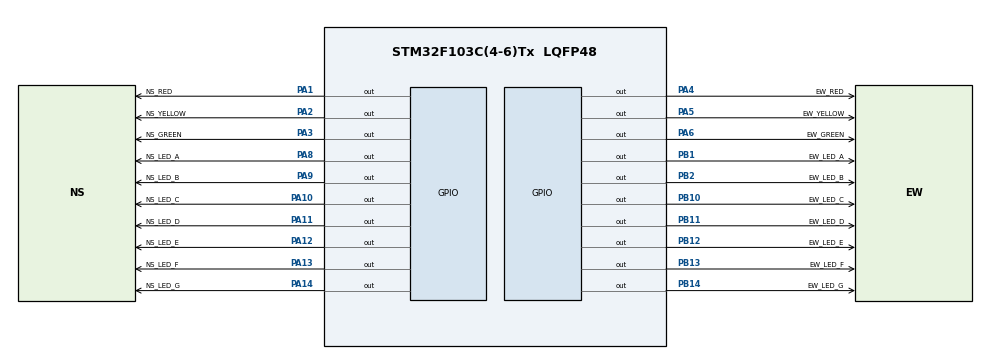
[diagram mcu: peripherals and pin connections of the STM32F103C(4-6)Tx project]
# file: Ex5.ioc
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Mcu.Family=STM32F1
Mcu.Name=STM32F103C(4-6)Tx
Mcu.Package=LQFP48
NVIC.PriorityGroup=NVIC_PRIORITYGROUP_4
PA1.GPIO_Label=NS_RED
PA1.Signal=GPIO_Output
PA10.GPIO_Label=NS_LED_C
PA10.Signal=GPIO_Output
PA11.GPIO_Label=NS_LED_D
PA11.Signal=GPIO_Output
PA12.GPIO_Label=NS_LED_E
PA12.Signal=GPIO_Output
PA13.GPIO_Label=NS_LED_F
PA13.Signal=GPIO_Output
PA14.GPIO_Label=NS_LED_G
PA14.Signal=GPIO_Output
PA2.GPIO_Label=NS_YELLOW
PA2.Signal=GPIO_Output
PA3.GPIO_Label=NS_GREEN
PA3.Signal=GPIO_Output
PA4.GPIO_Label=EW_RED
PA4.Signal=GPIO_Output
PA5.GPIO_Label=EW_YELLOW
PA5.Signal=GPIO_Output
PA6.GPIO_Label=EW_GREEN
PA6.Signal=GPIO_Output
PA8.GPIO_Label=NS_LED_A
PA8.Signal=GPIO_Output
PA9.GPIO_Label=NS_LED_B
PA9.Signal=GPIO_Output
PB1.GPIO_Label=EW_LED_A
PB1.Signal=GPIO_Output
PB10.GPIO_Label=EW_LED_C
PB10.Signal=GPIO_Output
PB11.GPIO_Label=EW_LED_D
PB11.Signal=GPIO_Output
PB12.GPIO_Label=EW_LED_E
PB12.Signal=GPIO_Output
PB13.GPIO_Label=EW_LED_F
PB13.Signal=GPIO_Output
PB14.GPIO_Label=EW_LED_G
PB14.Signal=GPIO_Output
PB2.GPIO_Label=EW_LED_B
PB2.Signal=GPIO_Output
ProjectManager.HeapSize=0x200
ProjectManager.StackSize=0x400
ProjectManager.TargetToolchain=STM32CubeIDE
RCC.APB1Freq_Value=8000000
RCC.APB2Freq_Value=8000000
VP_SYS_VS_ND.Mode=No_Debug
board=custom

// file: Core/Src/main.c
/* USER CODE BEGIN Header */
/**
  ******************************************************************************
  * @file           : main.c
  * @brief          : Main program body
  ******************************************************************************
  * @attention
  *
  * <h2><center>&copy; Copyright (c) 2025 STMicroelectronics.
  * All rights reserved.</center></h2>
  *
  * This software component is licensed by ST under BSD 3-Clause license,
  * the "License"; You may not use this file except in compliance with the
  * License. You may obtain a copy of the License at:
  *                        opensource.org/licenses/BSD-3-Clause
  *
  ******************************************************************************
  */
/* USER CODE END Header */
#include "main.h"

void SystemClock_Config(void);
static void MX_GPIO_Init(void);
/* USER CODE BEGIN PFP */
  uint16_t led_state[10] = {
  		  0b1000000, // 0 = a b c d e f
  		  0b1111001, // 1 = b c
  		  0b0100100, // 2 = a b d e g
  		  0b0110000, // 3 = a b c d g
  		  0b0011001, // 4 = b c f g
  		  0b0010010, // 5 = a c d f g
  		  0b0000010, // 6 = a c d e f g
  		  0b1111000, // 7 = a b c
  		  0b0000000, // 8 = a b c d e f g
  		  0b0010000  // 9 = a b c d f g
  };
/* USER CODE END PFP */
/* USER CODE BEGIN 0 */
void Control_NS(GPIO_PinState  RED_STATE, GPIO_PinState  YELLOW_STATE, GPIO_PinState  GREEN_STATE)
{
	 HAL_GPIO_WritePin(GPIOA, NS_RED_Pin, RED_STATE);
	 HAL_GPIO_WritePin(GPIOA, NS_YELLOW_Pin, YELLOW_STATE);
	 HAL_GPIO_WritePin(GPIOA, NS_GREEN_Pin, GREEN_STATE);
}
void Control_EW(GPIO_PinState  RED_STATE, GPIO_PinState  YELLOW_STATE, GPIO_PinState  GREEN_STATE)
{
	 HAL_GPIO_WritePin(GPIOA, EW_RED_Pin, RED_STATE);
	 HAL_GPIO_WritePin(GPIOA, EW_YELLOW_Pin, YELLOW_STATE);
	 HAL_GPIO_WritePin(GPIOA, EW_GREEN_Pin, GREEN_STATE);
}
void Display_LED_NS( int num)
{
	HAL_GPIO_WritePin(GPIOA, NS_LED_A_Pin, (led_state[num] & 0x01) ? SET:RESET);
	HAL_GPIO_WritePin(GPIOA, NS_LED_B_Pin, (led_state[num] & 0x02) ? SET:RESET);
	HAL_GPIO_WritePin(GPIOA, NS_LED_C_Pin, (led_state[num] & 0x04) ? SET:RESET);
	HAL_GPIO_WritePin(GPIOA, NS_LED_D_Pin, (led_state[num] & 0x08) ? SET:RESET);
	HAL_GPIO_WritePin(GPIOA, NS_LED_E_Pin, (led_state[num] & 0x10) ? SET:RESET);
	HAL_GPIO_WritePin(GPIOA, NS_LED_F_Pin, (led_state[num] & 0x20) ? SET:RESET);
	HAL_GPIO_WritePin(GPIOA, NS_LED_G_Pin, (led_state[num] & 0x40) ? SET:RESET);

}
void Display_LED_EW( int num)
{
	HAL_GPIO_WritePin(GPIOB, EW_LED_A_Pin, (led_state[num] & 0x01) ? SET:RESET);
	HAL_GPIO_WritePin(GPIOB, EW_LED_B_Pin, (led_state[num] & 0x02) ? SET:RESET);
	HAL_GPIO_WritePin(GPIOB, EW_LED_C_Pin, (led_state[num] & 0x04) ? SET:RESET);
	HAL_GPIO_WritePin(GPIOB, EW_LED_D_Pin, (led_state[num] & 0x08) ? SET:RESET);
	HAL_GPIO_WritePin(GPIOB, EW_LED_E_Pin, (led_state[num] & 0x10) ? SET:RESET);
	HAL_GPIO_WritePin(GPIOB, EW_LED_F_Pin, (led_state[num] & 0x20) ? SET:RESET);
	HAL_GPIO_WritePin(GPIOB, EW_LED_G_Pin, (led_state[num] & 0x40) ? SET:RESET);

}

/* USER CODE END 0 */

int main(void)
{

  /* MCU Configuration--------------------------------------------------------*/

  /* Reset of all peripherals, Initializes the Flash interface and the Systick. */
  HAL_Init();

  /* Configure the system clock */
  SystemClock_Config();

  /* Initialize all configured peripherals */
  MX_GPIO_Init();

  /* Infinite loop */
  /* USER CODE BEGIN WHILE */
  uint16_t count = 0;

  while (1)
  {
	         if(count < 5)
	        {
	              Control_NS(GPIO_PIN_SET, GPIO_PIN_RESET, GPIO_PIN_RESET);
	              Display_LED_NS(5-count);
	        }
	  	      else if(count < 8)
	  	    {
	  	    	 Control_NS(GPIO_PIN_RESET, GPIO_PIN_RESET, GPIO_PIN_SET);
             	 Display_LED_NS(8-count);
	  	    }
	  	      else if(count < 10)
	  	    {
	  	    	 Control_NS(GPIO_PIN_RESET, GPIO_PIN_SET, GPIO_PIN_RESET);
           	     Display_LED_NS(10-count);

	  	    }
	  	      // ----- East-West -----
	  	     if(count < 3)
	  	     {
	  	    	 Control_EW(GPIO_PIN_RESET, GPIO_PIN_RESET, GPIO_PIN_SET);
         	     Display_LED_EW(3-count);
	  	     }

	  	      else if(count < 5)
	  	     {  Control_EW(GPIO_PIN_RESET, GPIO_PIN_SET, GPIO_PIN_RESET);
    	        Display_LED_EW(5-count);

	  	     }
	  	      else if(count < 10)
	  	     {
	  	   	     Control_EW(GPIO_PIN_SET, GPIO_PIN_RESET, GPIO_PIN_RESET);
 	             Display_LED_EW(10-count);
	  	     }
	  	      count++;
	  	      if(count >= 10) count = 0;
	  	      HAL_Delay(1000);

    /* USER CODE END WHILE */

  }
}

void SystemClock_Config(void)
{
  RCC_OscInitTypeDef RCC_OscInitStruct = {0};
  RCC_ClkInitTypeDef RCC_ClkInitStruct = {0};

  /** Initializes the RCC Oscillators according to the specified parameters
  * in the RCC_OscInitTypeDef structure.
  */
  RCC_OscInitStruct.OscillatorType = RCC_OSCILLATORTYPE_HSI;
  RCC_OscInitStruct.HSIState = RCC_HSI_ON;
  RCC_OscInitStruct.HSICalibrationValue = RCC_HSICALIBRATION_DEFAULT;
  RCC_OscInitStruct.PLL.PLLState = RCC_PLL_NONE;
  if (HAL_RCC_OscConfig(&RCC_OscInitStruct) != HAL_OK)
  {
    Error_Handler();
  }
  /** Initializes the CPU, AHB and APB buses clocks
  */
  RCC_ClkInitStruct.ClockType = RCC_CLOCKTYPE_HCLK|RCC_CLOCKTYPE_SYSCLK
                              |RCC_CLOCKTYPE_PCLK1|RCC_CLOCKTYPE_PCLK2;
  RCC_ClkInitStruct.SYSCLKSource = RCC_SYSCLKSOURCE_HSI;
  RCC_ClkInitStruct.AHBCLKDivider = RCC_SYSCLK_DIV1;
  RCC_ClkInitStruct.APB1CLKDivider = RCC_HCLK_DIV1;
  RCC_ClkInitStruct.APB2CLKDivider = RCC_HCLK_DIV1;

  if (HAL_RCC_ClockConfig(&RCC_ClkInitStruct, FLASH_LATENCY_0) != HAL_OK)
  {
    Error_Handler();
  }
}

static void MX_GPIO_Init(void)
{
  GPIO_InitTypeDef GPIO_InitStruct = {0};

  /* GPIO Ports Clock Enable */
  __HAL_RCC_GPIOA_CLK_ENABLE();
  __HAL_RCC_GPIOB_CLK_ENABLE();

  /*Configure GPIO pin Output Level */
  HAL_GPIO_WritePin(GPIOA, NS_RED_Pin|NS_YELLOW_Pin|NS_GREEN_Pin|EW_RED_Pin
                          |EW_YELLOW_Pin|EW_GREEN_Pin|NS_LED_A_Pin|NS_LED_B_Pin
                          |NS_LED_C_Pin|NS_LED_D_Pin|NS_LED_E_Pin|NS_LED_F_Pin
                          |NS_LED_G_Pin, GPIO_PIN_RESET);

  /*Configure GPIO pin Output Level */
  HAL_GPIO_WritePin(GPIOB, EW_LED_A_Pin|EW_LED_B_Pin|EW_LED_C_Pin|EW_LED_D_Pin
                          |EW_LED_E_Pin|EW_LED_F_Pin|EW_LED_G_Pin, GPIO_PIN_RESET);

  /*Configure GPIO pins : NS_RED_Pin NS_YELLOW_Pin NS_GREEN_Pin EW_RED_Pin
                           EW_YELLOW_Pin EW_GREEN_Pin NS_LED_A_Pin NS_LED_B_Pin
                           NS_LED_C_Pin NS_LED_D_Pin NS_LED_E_Pin NS_LED_F_Pin
                           NS_LED_G_Pin */
  GPIO_InitStruct.Pin = NS_RED_Pin|NS_YELLOW_Pin|NS_GREEN_Pin|EW_RED_Pin
                          |EW_YELLOW_Pin|EW_GREEN_Pin|NS_LED_A_Pin|NS_LED_B_Pin
                          |NS_LED_C_Pin|NS_LED_D_Pin|NS_LED_E_Pin|NS_LED_F_Pin
                          |NS_LED_G_Pin;
  GPIO_InitStruct.Mode = GPIO_MODE_OUTPUT_PP;
  GPIO_InitStruct.Pull = GPIO_NOPULL;
  GPIO_InitStruct.Speed = GPIO_SPEED_FREQ_LOW;
  HAL_GPIO_Init(GPIOA, &GPIO_InitStruct);

  /*Configure GPIO pins : EW_LED_A_Pin EW_LED_B_Pin EW_LED_C_Pin EW_LED_D_Pin
                           EW_LED_E_Pin EW_LED_F_Pin EW_LED_G_Pin */
  GPIO_InitStruct.Pin = EW_LED_A_Pin|EW_LED_B_Pin|EW_LED_C_Pin|EW_LED_D_Pin
                          |EW_LED_E_Pin|EW_LED_F_Pin|EW_LED_G_Pin;
  GPIO_InitStruct.Mode = GPIO_MODE_OUTPUT_PP;
  GPIO_InitStruct.Pull = GPIO_NOPULL;
  GPIO_InitStruct.Speed = GPIO_SPEED_FREQ_LOW;
  HAL_GPIO_Init(GPIOB, &GPIO_InitStruct);

}

void Error_Handler(void)
{
  __disable_irq();
  while (1)
  {
  }
}

/************************ (C) COPYRIGHT STMicroelectronics *****END OF FILE****/
